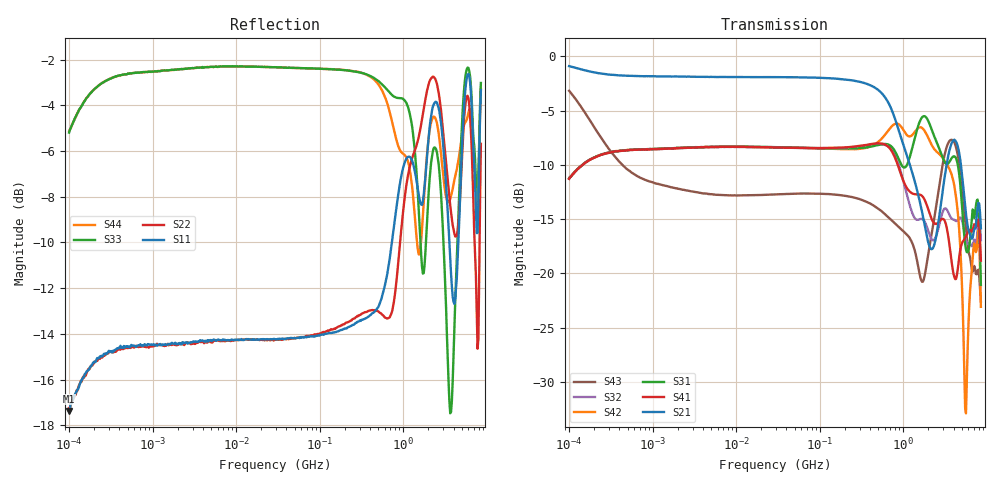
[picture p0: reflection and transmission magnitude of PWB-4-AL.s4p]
# MHz S MA R 50
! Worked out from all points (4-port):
!   498 points, 100 kHz to 8.5 GHz, reference 50 ohm
!   strongest paths, dB at 100 kHz, 1.698 MHz, 29.49 MHz, 500.7 MHz, 8.5 GHz:
!     S21: -0.9, -1.9, -1.9, -3.1, -15.8
!     S41: -11.3, -8.5, -8.4, -8.0, -18.8
!     S31: -11.3, -8.5, -8.4, -8.2, -21.1
!     S42: -11.2, -8.5, -8.4, -7.9, -23.1
!     S32: -11.3, -8.5, -8.4, -8.1, -16.9
!     S43: -3.2, -12.1, -12.7, -14.0, -22.6
!   lowest |S11| = -17.4 dB at 100 kHz (marker M1), VSWR 1.31, Z = 59.9 + j11.2 ohm
!   |S11| at or under -10 dB: start of sweep to 730.9 MHz; 3.565 GHz to 4.573 GHz (1.008 GHz wide, 24.8 % of centre)
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0.1  0.1353 42.7  0.9011 -6.0  0.2733 43.3  0.2723 -136.8
     0.9011 -6.0  0.1374 45.3  0.2738 -137.2  0.2742 42.7
     0.2733 43.3  0.2738 -137.2  0.5499 42.0  0.6935 -32.2
     0.2723 -136.8  0.2742 42.7  0.6935 -32.2  0.5536 42.0
159.8183  0.2017 -4.2  0.7889 -29.4  0.3766 -15.1  0.3789 140.2
          0.7889 -29.4  0.2059 -4.1  0.3771 141.4  0.3741 -14.3
          0.3766 -15.1  0.3771 141.4  0.7551 -19.7  0.2299 -38.9
          0.3789 140.2  0.3741 -14.3  0.2299 -38.9  0.756 -20.6
772.667  0.3425 -43.0  0.5334 -144.4  0.3721 -78.2  0.3501 -8.0
         0.5334 -144.4  0.2346 -37.6  0.3577 -4.8  0.4852 -72.0
         0.3721 -78.2  0.3577 -4.8  0.6596 -97.4  0.1714 128.4
         0.3501 -8.0  0.4852 -72.0  0.1714 128.4  0.5582 -105.3
2420.526  0.642 -168.1  0.1417 -81.1  0.4168 113.8  0.1694 149.3
          0.1417 -81.1  0.72 -176.5  0.1457 171.7  0.3697 103.9
          0.4168 113.8  0.1457 171.7  0.509 -176.1  0.1925 -129.7
          0.1694 149.3  0.3697 103.9  0.1925 -129.7  0.5914 -172.0
4284.188  0.2521 7.2  0.4044 -1.4  0.3389 -73.4  0.09415 -20.1
          0.4044 -1.4  0.326 -12.8  0.1741 -20.7  0.2243 -112.6
          0.3389 -73.4  0.1741 -20.7  0.2622 40.5  0.3804 -23.0
          0.09415 -20.1  0.2243 -112.6  0.3804 -23.0  0.4499 1.2
6764.496  0.5556 -154.7  0.1452 115.9  0.1968 61.0  0.157 103.0
          0.1452 115.9  0.4419 -150.2  0.1342 104.0  0.1165 75.8
          0.1968 61.0  0.1342 104.0  0.5811 -165.0  0.1015 94.4
          0.157 103.0  0.1165 75.8  0.1015 94.4  0.5567 -145.2
8500  0.6812 -42.6  0.1615 -89.5  0.08824 -148.3  0.1144 -110.1
      0.1615 -89.5  0.5197 -27.2  0.1424 -98.4  0.07005 -149.6
      0.08824 -148.3  0.1424 -98.4  0.706 -45.1  0.07413 -100.1
      0.1144 -110.1  0.07005 -149.6  0.07413 -100.1  0.6842 -33.3
